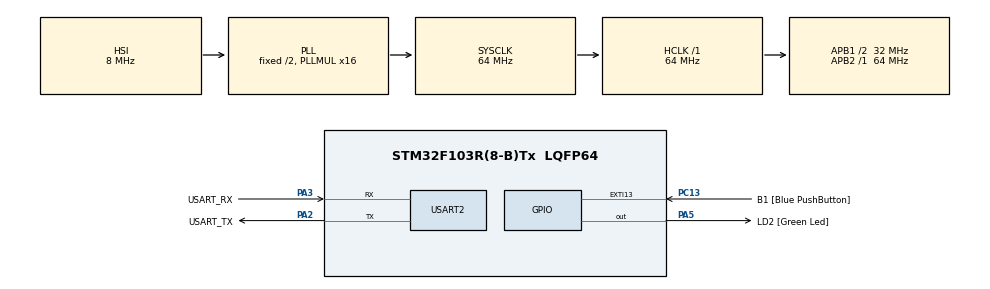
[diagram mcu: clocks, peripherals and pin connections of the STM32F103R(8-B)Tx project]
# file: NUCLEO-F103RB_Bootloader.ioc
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Mcu.Family=STM32F1
Mcu.Name=STM32F103R(8-B)Tx
Mcu.Package=LQFP64
NVIC.EXTI15_10_IRQn=true\:0\:0\:false\:false\:true\:true\:true\:true
NVIC.PriorityGroup=NVIC_PRIORITYGROUP_4
PA13.GPIO_Label=TMS
PA13.Mode=Serial_Wire
PA13.Signal=SYS_JTMS-SWDIO
PA14.GPIO_Label=TCK
PA14.Mode=Serial_Wire
PA14.Signal=SYS_JTCK-SWCLK
PA2.GPIO_Label=USART_TX
PA2.GPIO_Mode=GPIO_MODE_AF_PP
PA2.GPIO_PuPd=GPIO_NOPULL
PA2.GPIO_Speed=GPIO_SPEED_FREQ_LOW
PA2.Mode=Asynchronous
PA2.Signal=USART2_TX
PA3.GPIO_Label=USART_RX
PA3.GPIO_Mode=GPIO_MODE_AF_PP
PA3.GPIO_PuPd=GPIO_NOPULL
PA3.GPIO_Speed=GPIO_SPEED_FREQ_LOW
PA3.Mode=Asynchronous
PA3.Signal=USART2_RX
PA5.GPIO_Label=LD2 [Green Led]
PA5.GPIO_ModeDefaultOutputPP=GPIO_MODE_OUTPUT_PP
PA5.GPIO_PuPd=GPIO_NOPULL
PA5.GPIO_Speed=GPIO_SPEED_FREQ_LOW
PA5.PinState=GPIO_PIN_RESET
PA5.Signal=GPIO_Output
PB3.GPIO_Label=SWO
PB3.Signal=SYS_JTDO-TRACESWO
PC13-TAMPER-RTC.GPIO_Label=B1 [Blue PushButton]
PC13-TAMPER-RTC.GPIO_PuPd=GPIO_NOPULL
PC13-TAMPER-RTC.Signal=GPXTI13
PC14-OSC32_IN.Mode=LSE-External-Oscillator
PC14-OSC32_IN.Signal=RCC_OSC32_IN
PC15-OSC32_OUT.Mode=LSE-External-Oscillator
PC15-OSC32_OUT.Signal=RCC_OSC32_OUT
PD0-OSC_IN.Mode=HSE-External-Clock-Source
PD0-OSC_IN.Signal=RCC_OSC_IN
PD1-OSC_OUT.Mode=HSE-External-Clock-Source
PD1-OSC_OUT.Signal=RCC_OSC_OUT
ProjectManager.HeapSize=0x200
ProjectManager.StackSize=0x400
ProjectManager.TargetToolchain=STM32CubeIDE
RCC.AHBFreq_Value=64000000
RCC.APB1CLKDivider=RCC_HCLK_DIV2
RCC.APB1Freq_Value=32000000
RCC.APB1TimFreq_Value=64000000
RCC.APB2Freq_Value=64000000
RCC.APB2TimFreq_Value=64000000
RCC.HCLKFreq_Value=64000000
RCC.PLLMUL=RCC_PLL_MUL16
RCC.RTCClockSelection=RCC_RTCCLKSOURCE_LSE
RCC.SYSCLKFreq_VALUE=64000000
RCC.SYSCLKSource=RCC_SYSCLKSOURCE_PLLCLK
RCC.USBFreq_Value=64000000
USART2.VirtualMode=VM_ASYNC
board=NUCLEO-F103RB

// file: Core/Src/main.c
/* USER CODE BEGIN Header */
/**
  ******************************************************************************
  * @file           : main.c
  * @brief          : Main program body
  ******************************************************************************
  * @attention
  *
  * Copyright (c) 2025 STMicroelectronics.
  * All rights reserved.
  *
  * This software is licensed under terms that can be found in the LICENSE file
  * in the root directory of this software component.
  * If no LICENSE file comes with this software, it is provided AS-IS.
  *
  ******************************************************************************
  */
/* USER CODE END Header */
#include "main.h"

/* USER CODE BEGIN Includes */
#include <stdio.h>
/* USER CODE END Includes */

/* USER CODE BEGIN PTD */
typedef void (*pFunction)(void);
/* USER CODE END PTD */

/* USER CODE BEGIN PD */
#define FLASH_APP_ADDR 0x8008000
/* USER CODE END PD */

/* USER CODE BEGIN PM */
#define LOCATE_FUNC __attribute__((section(".mysection")))
/* USER CODE END PM */

UART_HandleTypeDef huart2;

/* USER CODE BEGIN PV */
unsigned char __attribute__((section(".myBufSectionRAM"))) buf_ram[128];
const unsigned char __attribute__((section(".myBufSectionFLASH"))) buf_flash[10] = {0, 1, 2, 3, 4, 5, 6, 7, 8, 9};
/* USER CODE END PV */

void SystemClock_Config(void);
static void MX_GPIO_Init(void);
static void MX_USART2_UART_Init(void);
/* USER CODE BEGIN PFP */
void LOCATE_FUNC Blink(uint32_t dlyticks);
void LOCATE_FUNC TurnOn(void);
void LOCATE_FUNC TurnOff(void);
/* USER CODE END PFP */

/* USER CODE BEGIN 0 */
struct BootloaderSharedAPI
{
	void(*Blink)(uint32_t dlyticks);
	void(*TurnOn)(void);
	void(*TurnOff)(void);
};

void LOCATE_FUNC Blink(uint32_t dlyticks)
{
	HAL_GPIO_TogglePin(LD2_GPIO_Port, LD2_Pin);
	HAL_Delay(dlyticks);
}

void LOCATE_FUNC TurnOn(void)
{
	HAL_GPIO_WritePin(LD2_GPIO_Port, LD2_Pin, GPIO_PIN_SET);
}

void LOCATE_FUNC TurnOff(void)
{
	HAL_GPIO_WritePin(LD2_GPIO_Port, LD2_Pin, GPIO_PIN_RESET);
}

struct BootloaderSharedAPI api __attribute__((section(".API_SHARED"))) = {
		Blink,
		TurnOn,
		TurnOff
};

void go2APP(void)
{
	uint32_t JumpAddress;
	pFunction Jump_To_Application;

	//check if there is something "installed" in the app FLASH region
	if(((*(uint32_t*) FLASH_APP_ADDR) & 0x2FFE0000) == 0x20000000)
	{
		printf("Preparing to jump to App ...\r\n");
		HAL_Delay(100);
		//jump to the application
		JumpAddress = *(uint32_t *) (FLASH_APP_ADDR + 4 );
		Jump_To_Application = (pFunction) JumpAddress;
		//initialize application's stack pointer
		__set_MSP(*(uint32_t *)FLASH_APP_ADDR);
		Jump_To_Application();
	}
	else
	{
		//there is no application installed
		printf("No APP found\r\n");
	}
}

int _write(int file, char *ptr, int len)
{
	int DataIdx;

	for(DataIdx=0; DataIdx<len; DataIdx++)
	{
		HAL_UART_Transmit(&huart2, (uint8_t *)ptr++, 1, 100);
	}
	return len;
}

//static funcPtr Functions[] = {
//		Blynk1
//};
/* USER CODE END 0 */

int main(void)
{

  /* USER CODE BEGIN 1 */
	uint8_t counter = 0;
  /* USER CODE END 1 */

  /* MCU Configuration--------------------------------------------------------*/

  /* Reset of all peripherals, Initializes the Flash interface and the Systick. */
  HAL_Init();

  /* Configure the system clock */
  SystemClock_Config();

  /* Initialize all configured peripherals */
  MX_GPIO_Init();
  MX_USART2_UART_Init();

  /* Infinite loop */
  /* USER CODE BEGIN WHILE */
  printf("BOOTLOADER Start \r\n");
  while (1)
  {
    /* USER CODE END WHILE */

    /* USER CODE BEGIN 3 */
	  if (counter <= 2) {
		  api.Blink(1000);
		  counter+=1;
	  }
	  else go2APP();
  }
  /* USER CODE END 3 */
}

void SystemClock_Config(void)
{
  RCC_OscInitTypeDef RCC_OscInitStruct = {0};
  RCC_ClkInitTypeDef RCC_ClkInitStruct = {0};

  /** Initializes the RCC Oscillators according to the specified parameters
  * in the RCC_OscInitTypeDef structure.
  */
  RCC_OscInitStruct.OscillatorType = RCC_OSCILLATORTYPE_HSI;
  RCC_OscInitStruct.HSIState = RCC_HSI_ON;
  RCC_OscInitStruct.HSICalibrationValue = RCC_HSICALIBRATION_DEFAULT;
  RCC_OscInitStruct.PLL.PLLState = RCC_PLL_ON;
  RCC_OscInitStruct.PLL.PLLSource = RCC_PLLSOURCE_HSI_DIV2;
  RCC_OscInitStruct.PLL.PLLMUL = RCC_PLL_MUL16;
  if (HAL_RCC_OscConfig(&RCC_OscInitStruct) != HAL_OK)
  {
    Error_Handler();
  }

  /** Initializes the CPU, AHB and APB buses clocks
  */
  RCC_ClkInitStruct.ClockType = RCC_CLOCKTYPE_HCLK|RCC_CLOCKTYPE_SYSCLK
                              |RCC_CLOCKTYPE_PCLK1|RCC_CLOCKTYPE_PCLK2;
  RCC_ClkInitStruct.SYSCLKSource = RCC_SYSCLKSOURCE_PLLCLK;
  RCC_ClkInitStruct.AHBCLKDivider = RCC_SYSCLK_DIV1;
  RCC_ClkInitStruct.APB1CLKDivider = RCC_HCLK_DIV2;
  RCC_ClkInitStruct.APB2CLKDivider = RCC_HCLK_DIV1;

  if (HAL_RCC_ClockConfig(&RCC_ClkInitStruct, FLASH_LATENCY_2) != HAL_OK)
  {
    Error_Handler();
  }
}

static void MX_USART2_UART_Init(void)
{

  huart2.Instance = USART2;
  huart2.Init.BaudRate = 115200;
  huart2.Init.WordLength = UART_WORDLENGTH_8B;
  huart2.Init.StopBits = UART_STOPBITS_1;
  huart2.Init.Parity = UART_PARITY_NONE;
  huart2.Init.Mode = UART_MODE_TX_RX;
  huart2.Init.HwFlowCtl = UART_HWCONTROL_NONE;
  huart2.Init.OverSampling = UART_OVERSAMPLING_16;
  if (HAL_UART_Init(&huart2) != HAL_OK)
  {
    Error_Handler();
  }

}

static void MX_GPIO_Init(void)
{
  GPIO_InitTypeDef GPIO_InitStruct = {0};

  /* GPIO Ports Clock Enable */
  __HAL_RCC_GPIOC_CLK_ENABLE();
  __HAL_RCC_GPIOD_CLK_ENABLE();
  __HAL_RCC_GPIOA_CLK_ENABLE();
  __HAL_RCC_GPIOB_CLK_ENABLE();

  /*Configure GPIO pin Output Level */
  HAL_GPIO_WritePin(LD2_GPIO_Port, LD2_Pin, GPIO_PIN_RESET);

  /*Configure GPIO pin : B1_Pin */
  GPIO_InitStruct.Pin = B1_Pin;
  GPIO_InitStruct.Mode = GPIO_MODE_IT_RISING;
  GPIO_InitStruct.Pull = GPIO_NOPULL;
  HAL_GPIO_Init(B1_GPIO_Port, &GPIO_InitStruct);

  /*Configure GPIO pin : LD2_Pin */
  GPIO_InitStruct.Pin = LD2_Pin;
  GPIO_InitStruct.Mode = GPIO_MODE_OUTPUT_PP;
  GPIO_InitStruct.Pull = GPIO_NOPULL;
  GPIO_InitStruct.Speed = GPIO_SPEED_FREQ_LOW;
  HAL_GPIO_Init(LD2_GPIO_Port, &GPIO_InitStruct);

  /* EXTI interrupt init*/
  HAL_NVIC_SetPriority(EXTI15_10_IRQn, 0, 0);
  HAL_NVIC_EnableIRQ(EXTI15_10_IRQn);

}

void Error_Handler(void)
{
  __disable_irq();
  while (1)
  {
  }
}
